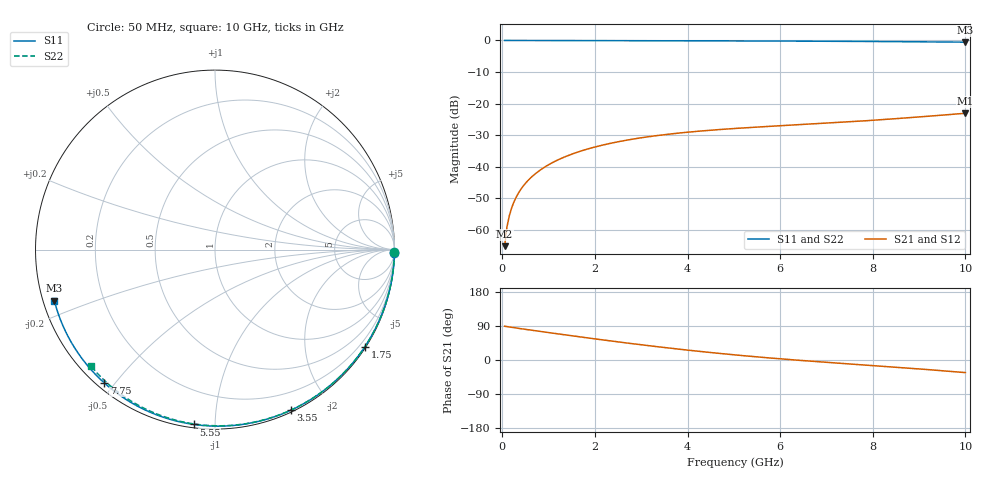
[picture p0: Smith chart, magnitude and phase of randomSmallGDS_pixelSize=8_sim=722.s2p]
! freq	dB(S11)	phase(S11)	dB(S12)	phase(S12)
!  dB(S21)	phase(S21)	dB(S22)	phase(S22)
!S-par simulation data
#  GHz  S  DB  R 50
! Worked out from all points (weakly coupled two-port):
!   200 points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, 50 MHz to 10 GHz, reference 50 ohm
!   highest |S21| = -23.06 dB at 10 GHz (marker M1); lowest = -65.1 dB at 50 MHz (marker M2)
!   lowest |S11| = -0.5 dB at 10 GHz (marker M3), VSWR 31.94, Z = 1.6 - j7.72 ohm
!   |S11| at or under -10 dB: nowhere
!   |S22| runs from -0.5 to 0.0 dB; largest |S21 - S12| = 0
!   S11 on the Smith chart (normalised r, x): 50 MHz: open; 1.75 GHz: 0.03, -3.39; 3.55 GHz: 0.02, -1.58; 5.55 GHz: 0.02, -0.88; 7.75 GHz: 0.02, -0.47; 10 GHz: 0.03, -0.15
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0.05  -0.00 -1.0  -65.13 89.0  -65.13 89.0  -0.00 -0.8
0.1  -0.00 -1.9  -59.12 88.1  -59.12 88.1  -0.00 -1.6
0.15  -0.00 -2.9  -55.60 87.2  -55.60 87.2  -0.00 -2.4
0.2  -0.00 -3.8  -53.11 86.2  -53.11 86.2  -0.00 -3.2
0.25  -0.00 -4.8  -51.19 85.3  -51.19 85.3  -0.00 -4.0
0.35  -0.00 -6.7  -48.29 83.5  -48.29 83.5  -0.00 -5.6
0.5  -0.01 -9.5  -45.23 80.9  -45.23 80.9  -0.01 -8.0
0.7  -0.02 -13.3  -42.36 77.5  -42.36 77.5  -0.01 -11.2
1  -0.02 -19.0  -39.35 72.3  -39.35 72.3  -0.02 -16.0
1.35  -0.03 -25.5  -36.86 66.5  -36.86 66.5  -0.03 -21.5
1.75  -0.04 -32.9  -34.77 59.8  -34.77 59.8  -0.04 -27.7
2.6  -0.06 -48.2  -31.80 46.2  -31.80 46.2  -0.05 -40.7
3.4  -0.09 -62.1  -30.01 34.3  -30.01 34.3  -0.07 -52.6
3.55  -0.09 -64.7  -29.75 32.2  -29.75 32.2  -0.08 -54.7
4.3  -0.11 -77.2  -28.66 22.2  -28.66 22.2  -0.10 -65.4
5.05  -0.14 -89.2  -27.84 13.2  -27.84 13.2  -0.12 -75.8
5.55  -0.16 -97.0  -27.39 7.7  -27.39 7.7  -0.14 -82.5
6.7  -0.23 -114.3  -26.44 -3.4  -26.44 -3.4  -0.19 -97.3
7.75  -0.30 -129.6  -25.52 -12.5  -25.52 -12.5  -0.26 -110.2
8.35  -0.36 -138.3  -24.92 -17.7  -24.92 -17.7  -0.30 -117.4
9.2  -0.45 -150.6  -23.99 -25.4  -23.99 -25.4  -0.38 -127.4
10  -0.54 -162.4  -23.06 -33.3  -23.06 -33.3  -0.47 -136.7
